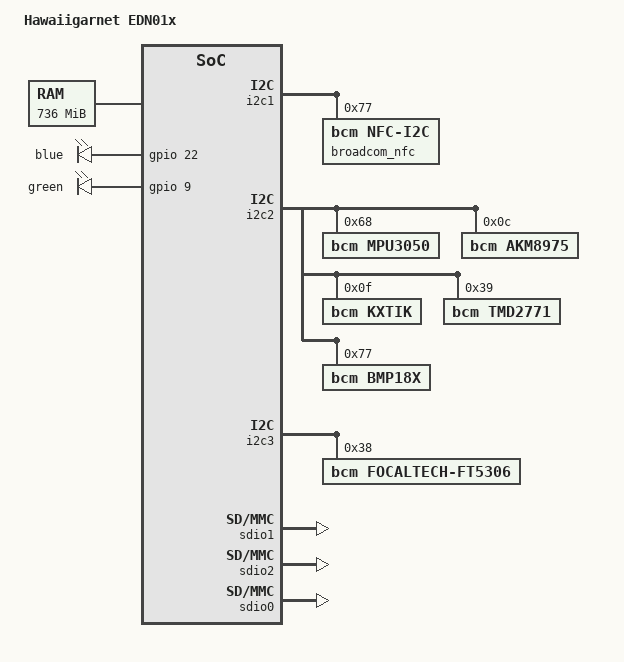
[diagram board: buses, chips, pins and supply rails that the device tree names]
/* Hawaii_edn01X Dts file */

/dts-v1/;

/include/ "bcm_21664.dtsi"
/include/ "hawaii_garnet_bcmpmu_edn010.dtsi"

/ {
	model = "Hawaiigarnet EDN01x";
	compatible = "bcm,hawaii";

	chosen {
		bootargs = "console=ttyS0,115200n8 mem=992M gpt androidboot.console=ttyS0 crash_ramdump=1 logbuf_nocache=1";
	};

	memory@82000000 {
		device_type = "memory";
		reg = <0x82000000 0x2e000000>; /* 736 MB */
	};

	wd-tapper {
		count = <300>; /* Time in seconds */
		ch-num = <1>; /* Kona hub timer Channel number */
		timer-name = "aon-timer";
	};

	uart@3e000000 {
		clock-frequency = <26000000>;
		port-name = "console";
		clk-name = "uartb_clk";
	};

	uart@3e001000 {
		clock-frequency = <48000000>;
		port-name = "bluetooth";
		clk-name = "uartb2_clk";
	};

	uart@3e002000 {
		clock-frequency = <26000000>;
		port-name = "gps";
		clk-name = "uartb3_clk";
		/*If power-save-enable is set Change
		* PADCTRL_UBRTSN from UART3_RTSN to
		* UBRTSN (Debug UART) when GPS is inactive.*/
		power-save-enable = <1>;

	};

	i2c0: i2c@3e016000 {
		speed = <5>; /* BSC_BUS_SPEED_400 K */
		dynamic-speed = <1>;
		bsc-clk = "bsc1_clk";
		bsc-apb-clk = "bsc1_apb_clk";
		retries = <1>;
		is-pmu-i2c = <0>;
		fs-ref-frequency = <13000000>;
		hs-ref-frequency = <104000000>;
	};

	i2c1: i2c@3e017000 {
		speed = <5>; /* BSC_BUS_SPEED_400 K */
		dynamic-speed = <1>;
		bsc-clk = "bsc2_clk";
		bsc-apb-clk = "bsc2_apb_clk";
		retries = <3>;
		is-pmu-i2c = <0>;
		fs-ref-frequency = <13000000>;
		hs-ref-frequency = <104000000>;

		broadcom_nfc@77 {
			compatible = "bcm,nfc-i2c";
			reg = <0x77>;
			wake_gpio = <25>;
			en_gpio = <100>;
			irq_gpio = <90>;
			enable_txfifo = <1>;
			enable_rxfifo = <1>;
		};

	};

	i2c2: i2c@3e018000 {
		speed = <5>; /* BSC_BUS_SPEED_400 K */
		dynamic-speed = <1>;
		bsc-clk = "bsc3_clk";
		bsc-apb-clk = "bsc3_apb_clk";
		retries = <1>;
		is-pmu-i2c = <0>;
		fs-ref-frequency = <13000000>;
		hs-ref-frequency = <104000000>;
		mpu3050@68 {
			compatible = "bcm,mpu3050";
			reg = <0x68>;
			gpio-irq-pin = <33>;
			int-config = <0x10>;
			level-shifter = <0>;
			orientation = <0 0xFFFFFFFF 0
					0xFFFFFFFF 0 0
					0 0 0xFFFFFFFF>;
		};
		akm8975@0c {
			compatible = "bcm,akm8975";
			reg = <0x0c>;
			gpio-irq-pin = <4>;
			layout = <6>;
		};

		kxtik@0f {
                        compatible = "bcm,kxtik";
                        reg = <0x0f>;
                        gpio-irq-pin = <1>;
                        min_interval = <5>;
                        poll_interval = <200>;
                        axis_map_x = <0>;
                        axis_map_y = <1>;
                        axis_map_z = <2>;
                        negate_x = <1>;
                        negate_y = <0>;
                        negate_z = <1>;
                        res_12bit = <64>;
                        g_range = <0>;
                };

		tmd2771@39 {
			compatible = "bcm,tmd2771";
			reg = <0x39>;
			gpio-irq-pin = <89>;
			calibrate_target_param = <300000>;
			als_time_param = <200>;
			scale_factor_param = <1>;
			gain_trim_param = <512>;
			filter_history_param = <3>;
			filter_count_param = <1>;
			gain_param = <2>;
			prox_threshold_hi_param = <646>;
			prox_threshold_lo_param = <638>;
			als_threshold_hi_param = <1>;
			als_threshold_lo_param = <0>;
			prox_int_time_param = <238>;
			prox_adc_time_param = <255>;
			prox_wait_time_param = <238>;
			prox_intr_filter_param = <17>;
			prox_config_param = <0>;
			prox_pulse_cnt_param = <96>;
			prox_gain_param = <34>;
			prox_win_sw = <100>;
		};

		bmp18x@77 {
                         compatible = "bcm,bmp18x";
                         reg = <0x77>;
		};
	};

	i2c3: i2c@3e01c000 {
		speed = <5>; /* BSC_BUS_SPEED_400 K */
		dynamic-speed = <1>;
		bsc-clk = "bsc4_clk";
		bsc-apb-clk = "bsc4_apb_clk";
		retries = <1>;
		is-pmu-i2c = <0>;
		fs-ref-frequency = <13000000>;
		hs-ref-frequency = <104000000>;

		FocalTech-Ft5306@46 {
			compatible = "bcm,FocalTech-Ft5306";
			reg = <0x38>;
			gpio-irq-pin = <73>;
			gpio-reset-pin = <70>;
			gpio-wakeup-pin = <70>;
			x-max-value = <720>;
			y-max-value = <1280>;
			use-irq = <1>;
			power = "camldo2";
		};
	};

	i2c4: i2c@3500d000 {
		speed = <7>; /* BSC_BUS_SPEED_HS */
		dynamic-speed = <0>;
		bsc-clk = "pmu_bsc_clk";
		bsc-apb-clk = "pmu_bsc_apb";
		retries = <5>;
		is-pmu-i2c = <1>;
		fs-ref-frequency = <13000000>;
		hs-ref-frequency = <26000000>;
	};

	bluetooth-btlpm {
		compatible = "bcm,btlpm";
		bt-wake-gpio = <32>;
		host-wake-gpio = <72>;
		bt-uart-port = <1>;
	};

	bcmbt-rfkill {
		compatible = "bcm,bcmbt-rfkill";
		verg-gpio = <28>;
		n-reset-gpio = <0xFFFFFFFF>;
		aux0-gpio = <0xFFFFFFFF>; /* CLK32 */
		aux1-gpio = <0xFFFFFFFF>; /* UARTB_SEL,probably not required */
	};

	iommu_mm: iommu-mm {
		compatible = "bcm,iommu-m4u";
		iova_begin  = <0x80000000>;
		iova_size   = <0x80000000>;
		errbuf_size = <0x00001000>;
		skip_enable = <1>;
	};

	iovmm_mm: iovmm-mm {
		compatible = "bcm,iovmm";
		base = <0xc0000000>;
		size = <0x30000000>;
		order = <0>;
	};

	iovmm_mm_256mb: iovmm-mm-256mb {
		compatible = "bcm,iovmm";
		base = <0xf0000000>;
		size = <0x0ff00000>;
		order = <0>;
	};

	ion-config {
		compatible = "bcm,ion-config";
		/* No separate mask needed for hwwr if M4U is enabled */
		mask_hwwr = <0>;
	};

	ion-system {
		compatible = "bcm,ion";
		id = <0>;
		type = <0>;
		iommu = <&iommu_mm>;
		iovmm = <&iovmm_mm_256mb>;
	};

	ion-system-extra {
		compatible = "bcm,ion";
		id = <1>;
		type = <0>;
		iommu = <&iommu_mm>;
		iovmm = <&iovmm_mm>;
	};

	ion-carveout {
		compatible = "bcm,ion";
		id = <9>;
		type = <2>;
		base  = <0x90000000>;
		limit = <0xa0000000>;
		size  = <0x01000000>;
		lmk_enable = <0>;
		lmk_min_score_adj = <411>;
		lmk_min_free = <32>;
		iommu = <&iommu_mm>;
		iovmm = <&iovmm_mm_256mb>;
	};

	ion-cma {
		compatible = "bcm,ion";
		id = <5>;
		type = <4>;
		base  = <0x90000000>;
		limit = <0xa0000000>;
		size  = <0x00000000>;
		lmk_enable = <1>;
		lmk_min_score_adj = <411>;
		lmk_min_free = <32>;
		iommu = <&iommu_mm>;
		iovmm = <&iovmm_mm_256mb>;
	};

	soc-back-camera {
		compatible = "bcm,soc-camera";
		reg = <0x3c 0x0>;
		bus-id = <0>;
		i2c-type = "ov5640";	/* i2c_board_info type */
		i2c-addr = <0x3c>;	/* i2c_board_info addr */
		i2c-adapter-id = <0>;
		module-name = "ov5640";
		if-type = <1>;		/* V4L2_SUBDEV_SENSOR_SERIAL */
		if-mode = <3>;		/* V4L2_SUBDEV_SENSOR_MODE_SERIAL_CSI2 */
		orientation = <1>;	/* V4L2_SUBDEV_SENSOR_LANDSCAPE */
		facing = <1>;		/* V4L2_SUBDEV_SENSOR_BACK */
		lanes = <2>;
		channel = <0>;
		phy-rate = <0>;
		pix-clk = <0>;
		regulators = "lvldo1_uc", "mmc1_vcc", "mmc2_vcc", "lvldo2_uc";
	};

	soc-front-camera {
		compatible = "bcm,soc-camera";
		reg = <0x3e 0x0>;
		bus-id = <0>;
		i2c-type = "ov7692";	/* i2c_board_info type */
		i2c-addr = <0x3e>;	/* i2c_board_info addr */
		i2c-adapter-id = <0>;
		module-name = "ov7692";
		if-type = <1>;		/* V4L2_SUBDEV_SENSOR_SERIAL */
		if-mode = <3>;		/* V4L2_SUBDEV_SENSOR_MODE_SERIAL_CSI2 */
		orientation = <1>;	/* V4L2_SUBDEV_SENSOR_LANDSCAPE */
		facing = <0>;		/* V4L2_SUBDEV_SENSOR_FRONT */
		lanes = <1>;
		channel = <1>;
		phy-rate = <0>;
		pix-clk = <0>;
		regulators = "lvldo2_uc", "mmc1_vcc", "mmc2_vcc", "lvldo1_uc";
	};

	kona-fb {
		module-name = "NT35512";
		reg-name = "cam2";
		rst-gpio = <8>;
		detect-gpio = <10>;
		detect-gpio-val = <0>;
		rst-setup = <700>;	/* 700us */
		rst-pulse = <1000>;	/* 1ms */
		rst-hold = <100000>;	/* 100ms */
		col-mod-i = <3>;
		col-mod-o = <2>;
		width = <480>;
		height = <854>;
		/* rst-active-high */	/* Commented => Active Low */
		vmode;
		/* vburst */	/* Non-burst mode */
		/* te-ctrl; */		/* Tearing Effect Control disabled */
		fps = <60>;
		lanes = <2>;
		cmnd-LP;		/* Commands in LP mode*/
		hs-bitrate = <330000000>;
		lp-bitrate = <8000000>;	/* 8mbps */
		iommu = <&iommu_mm>;
		iovmm = <&iovmm_mm>;
		rotation = <180>;
	};

	kona-fb-2 {
		module-name = "OTM8018B";
		reg-name = "cam2";
		rst-gpio = <8>;
		detect-gpio = <10>;
		detect-gpio-val = <1>;
		rst-setup = <700>;	/* 700us */
		rst-pulse = <1000>;	/* 1ms */
		rst-hold = <100000>;	/* 100ms */
		col-mod-i = <3>;
		col-mod-o = <2>;
		width = <480>;
		height = <854>;
		/* rst-active-high */	/* Commented => Active Low */
		vmode;
		/* vburst */		/* Non-burst mode */
		/* te-ctrl; */		/* Tearing Effect Control disabled */
		fps = <60>;
		lanes = <2>;
		cmnd-LP;		/* Commands in LP mode*/
		hs-bitrate = <330000000>;
		lp-bitrate = <8000000>;	/* 8mbps */
		iommu = <&iommu_mm>;
		iovmm = <&iovmm_mm>;
		rotation = <180>;
	};

	tmon@0x34008000 {
		compatible = "bcm,tmon";
		reg = <0x34008000 0x1000>;
		interrupts = <0 183 4>;
		chipreg_addr = <0x35004000 0x1000>;
		thold_size = <3>; /*number of threshold levels*/
		poll_rate_ms = <30000>;
		hysteresis = <0>;
		flags = <0>;
		interval_ms = <5>;
		/*critical temp is 115*/
		thold = <85 1
			100 1
			115 2>;
		tmon_apb_clk = "tmon_apb";
		tmon_1m_clk = "tmon_1m_clk";
		falling = <5>;
	};

	memc@35008000 {
		compatible = "bcm,memc";
		reg = <0x35008000 0x1000>;
		flags = <0x33>;
		chipreg_base = <0x35004000 0x1000>;
		memc0_aphy_base = <0x35008400 0x1000>;
		seq_busy_val = <2>;
		max_pwr = <3>;
	};

	sdio1 {
		compatible = "bcm,sdhci";
		reg = <0x3F190000 10000>;
		interrupts = <0 76 0x04>;
		id = <1>;
		data-pullup = <0>;
		is-8bit = <1>;
		devtype = <2>;		/*SDIO_DEV_TYPE_EMMC*/
		flags = <1>;		/*KONA_SDIO_FLAGS_DEVICE_NON_REMOVABLE*/
		peri-clk-name = "sdio2_clk";
		ahb-clk-name = "sdio2_ahb_clk";
		sleep-clk-name = "sdio2_sleep_clk";
		peri-clk-rate = <52000000>;
		vddsdmmc-regulator-name = "cam1";
	};

	sdio2 {
		compatible = "bcm,sdhci";
		reg = <0x3F1A0000 10000>;
		interrupts = <0 74 0x04>;
		id = <2>;
		data-pullup = <0>;
		devtype = <1>;		/*SDIO_DEV_TYPE_WIFI*/
		flags = <0>;		/*KONA_SDIO_FLAGS_DEVICE_REMOVABLE*/
		peri-clk-name = "sdio3_clk";
		ahb-clk-name = "sdio3_ahb_clk";
		sleep-clk-name = "sdio3_sleep_clk";
		peri-clk-rate = <48000000>;
	};

	sdio0 {
		compatible = "bcm,sdhci";
		reg = <0x3F180000 10000>;
		interrupts = <0 77 0x04>;
		id = <0>;
		data-pullup = <0>;
		cd-gpio = <91>;		/*SD_CARDDET_GPIO_PIN*/
		devtype = <0>;		/*SDIO_DEV_TYPE_SDMMC*/
		flags = <0>;		/*KONA_SDIO_FLAGS_DEVICE_REMOVABLE*/
		peri-clk-name = "sdio1_clk";
		ahb-clk-name = "sdio1_ahb_clk";
		sleep-clk-name = "sdio1_sleep_clk";
		peri-clk-rate = <48000000>;
		vddo-regulator-name = "vdd_sdio";
		vddsdxc-regulator-name = "vdd_sdxc";
	};

	wifi-driver {
		compatible = "bcm,bcm_wifi";
		wl-reset-gpio = <3>;
		host-wake-gpio = <74>;
		board-nvram-file = "/system/vendor/firmware/fw_wifi_nvram_4330.txt";
		module-name = "bcmdhd_4330";
	};

	keypad {
		row-num = <2>;
		col-num = <3>;
		row-col-count = <8>;
		key-name = "Vol Down Key", "Vol Up Key", "unused", "unused",
			"unused", "unused", "unused", "unused", "Camera Focus Key",
			"Camera Key", "unused", "unused", "unused", "unused",
			"unused", "unused", "unused", "unused", "unused",
			"unused", "unused", "unused", "unused", "unused",
			"unused", "unused", "unused", "unused", "unused",
			"unused", "unused", "unused", "unused", "unused",
			"unused", "unused", "unused", "unused", "unused",
			"unused", "unused", "unused", "unused", "unused",
			"unused", "unused", "unused", "unused", "unused",
			"unused", "unused", "unused", "unused", "unused",
			"unused", "unused", "unused", "unused", "unused",
			"unused", "unused", "unused", "unused", "unused";
		key-code = <114 115 0 0 0 0 0 0
			528 212 0 0 0 0 0 0
			0 0 0 0 0 0 0 0
			0 0 0 0 0 0 0 0
			0 0 0 0 0 0 0 0
			0 0 0 0 0 0 0 0
			0 0 0 0 0 0 0 0
			0 0 0 0 0 0 0 0>;
	};

	pwm-backlight {
		compatible = "bcm,pwm-backlight";
		reg = <0x0 0x0>;
		pwm-id = <2>;
		max-brightness = <32>;	/* Android calibrates to 32 levels */
		dft-brightness = <32>;
		polarity = <1>;		/* Inverted polarity */
		pwm-period-ns = <99900>; /* ~10010 Hz */
		pwm-request-label = "backlight";
		bl-on-delay = <7000>;
	};

	gpio-leds {
		compatible = "gpio-leds";

		blue {
			label = "blue";
			gpios = <&gpio 22 0>;
		};

		green {
			label = "green";
			gpios = <&gpio 9 0>;
		};
	};
};
